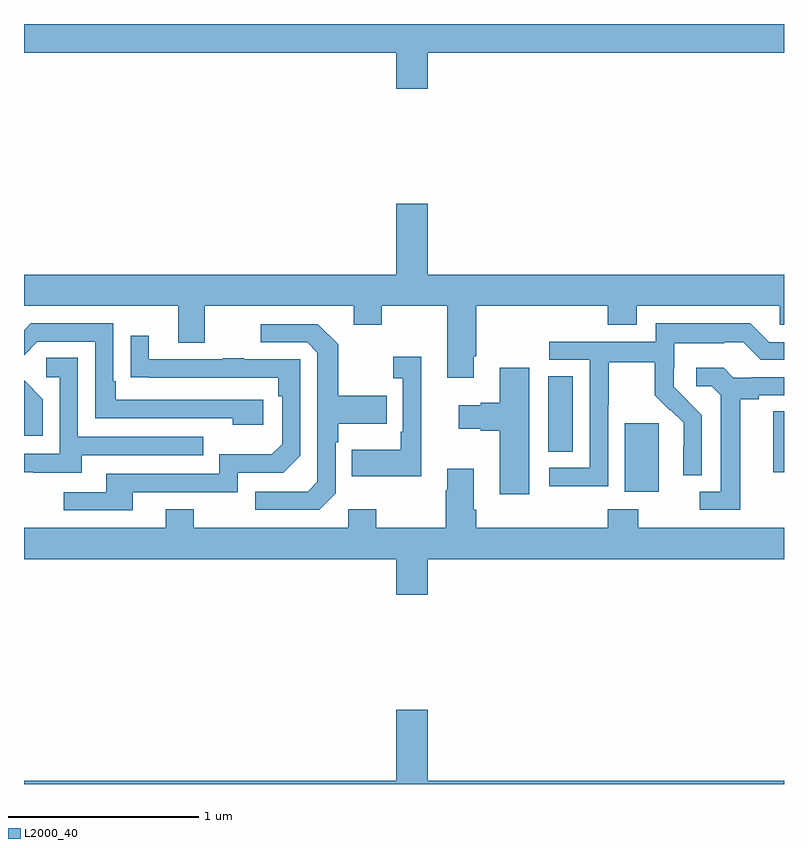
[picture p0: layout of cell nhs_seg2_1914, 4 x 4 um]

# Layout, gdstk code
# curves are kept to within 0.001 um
import gdstk
lib = gdstk.Library(unit=1e-6, precision=1e-09)
def R(c, l, rs):  # rectangles x0, y0, x1, y1
    for r in rs: c.add(gdstk.rectangle(r[:2], r[2:], *l))
def P(c, l, *ps):  # polygons
    for p in ps: c.add(gdstk.Polygon(p, *l))
L2000_40 = (2000, 40)

nhs_seg2_1914 = lib.new_cell('nhs_seg2_1914')
R(nhs_seg2_1914, L2000_40, [(214.163,633.338,214.342,633.699), (214.943,633.441,215,633.761), (213.758,633.55,213.889,633.947)])
P(nhs_seg2_1914, L2000_40, [(213.124,635.648),(215,635.648),(215,635.8),(211,635.8),(211,635.648),(212.96,635.648),(212.96,635.46),(213.124,635.46)],
  [(213.367,634.051),(213.38,634.051),(213.38,634.316),(214.073,634.316),(214.073,634.217),(214.225,634.217),(214.225,634.316),(214.977,634.316),(214.977,634.218),(215,634.218),(215,634.48),(213.124,634.48),(213.124,634.855),(212.96,634.855),(212.96,634.48),(211,634.48),(211,634.316),(211.811,634.316),(211.811,634.122),(211.951,634.122),(211.951,634.316),(212.735,634.316),(212.735,634.217),(212.883,634.217),(212.883,634.316),(213.227,634.316),(213.227,633.939),(213.367,633.939)],
  [(214.074,633.796),(214.077,633.796),(214.077,634.02),(214.321,634.02),(214.321,633.845),(214.398,633.768),(214.401,633.771),(214.472,633.701),(214.472,633.578),(214.47,633.578),(214.47,633.424),(214.566,633.424),(214.566,633.742),(214.42,633.89),(214.42,633.987),(214.422,633.987),(214.422,634.121),(214.685,634.121),(214.685,634.125),(214.785,634.125),(214.878,634.032),(215,634.032),(215,634.125),(214.923,634.125),(214.823,634.225),(214.326,634.225),(214.326,634.128),(213.765,634.128),(213.765,634.032),(213.978,634.032),(213.978,633.465),(213.765,633.465),(213.765,633.367),(214.074,633.367)],
  [(212.26,633.822),(211.483,633.822),(211.483,633.919),(211.47,633.919),(211.47,634.224),(211.035,634.224),(211,634.189),(211,634.057),(211.071,634.128),(211.374,634.128),(211.374,633.726),(212.099,633.726),(212.099,633.692),(212.26,633.692)],
  [(212.64,633.33),(212.64,633.599),(212.653,633.599),(212.653,633.695),(212.909,633.695),(212.909,633.843),(212.653,633.843),(212.653,634.115),(212.547,634.221),(212.247,634.221),(212.247,634.125),(212.49,634.125),(212.544,634.071),(212.544,633.39),(212.493,633.339),(212.217,633.339),(212.217,633.243),(212.553,633.243)],
  [(211.573,633.336),(212.124,633.336),(212.124,633.438),(212.364,633.438),(212.454,633.528),(212.454,634.035),(212.159,634.035),(212.159,634.04),(212.047,634.04),(212.047,634.035),(211.657,634.035),(211.657,634.159),(211.561,634.159),(211.561,633.94),(212.338,633.939),(212.338,633.842),(212.358,633.842),(212.358,633.588),(212.305,633.535),(212.028,633.535),(212.028,633.432),(211.433,633.432),(211.433,633.336),(211.209,633.336),(211.209,633.24),(211.573,633.24)],
  [(213.092,634.048),(212.943,634.048),(212.943,633.935),(212.994,633.935),(212.994,633.655),(212.982,633.655),(212.982,633.559),(212.725,633.559),(212.725,633.419),(213.092,633.419)],
  [(211.303,633.531),(211.943,633.531),(211.943,633.627),(211.284,633.627),(211.284,634.043),(211.116,634.043),(211.116,633.942),(211.188,633.942),(211.188,633.537),(211,633.537),(211,633.441),(211.049,633.441),(211.049,633.437),(211.303,633.437)],
  [(214.771,633.824),(214.867,633.824),(214.867,633.846),(215,633.846),(215,633.942),(214.828,633.942),(214.828,633.939),(214.734,633.939),(214.682,633.991),(214.539,633.991),(214.539,633.894),(214.62,633.894),(214.667,633.847),(214.667,633.339),(214.557,633.339),(214.557,633.243),(214.771,633.243)],
  [(213.658,633.991),(213.503,633.991),(213.503,633.806),(213.404,633.806),(213.404,633.793),(213.288,633.793),(213.288,633.671),(213.404,633.671),(213.404,633.659),(213.503,633.659),(213.503,633.324),(213.658,633.324)],
  [(211.098,633.826),(211,633.924),(211,633.79),(211.001,633.789),(211.001,633.633),(211.098,633.633)],
  [(211.745,633.247),(211.745,633.148),(211,633.148),(211,632.984),(212.96,632.984),(212.96,632.796),(213.124,632.796),(213.124,632.984),(215,632.984),(215,633.148),(214.233,633.148),(214.233,633.247),(214.073,633.247),(214.073,633.148),(213.38,633.148),(213.38,633.244),(213.367,633.244),(213.367,633.46),(213.227,633.46),(213.227,633.347),(213.22,633.347),(213.22,633.148),(212.853,633.148),(212.853,633.247),(212.706,633.247),(212.706,633.148),(211.893,633.148),(211.893,633.247)],
  [(215,631.816),(213.124,631.816),(213.124,632.191),(212.96,632.191),(212.96,631.816),(211,631.816),(211,631.8),(215,631.8)])

lib.write_gds('nhs_seg2_1914.gds')
